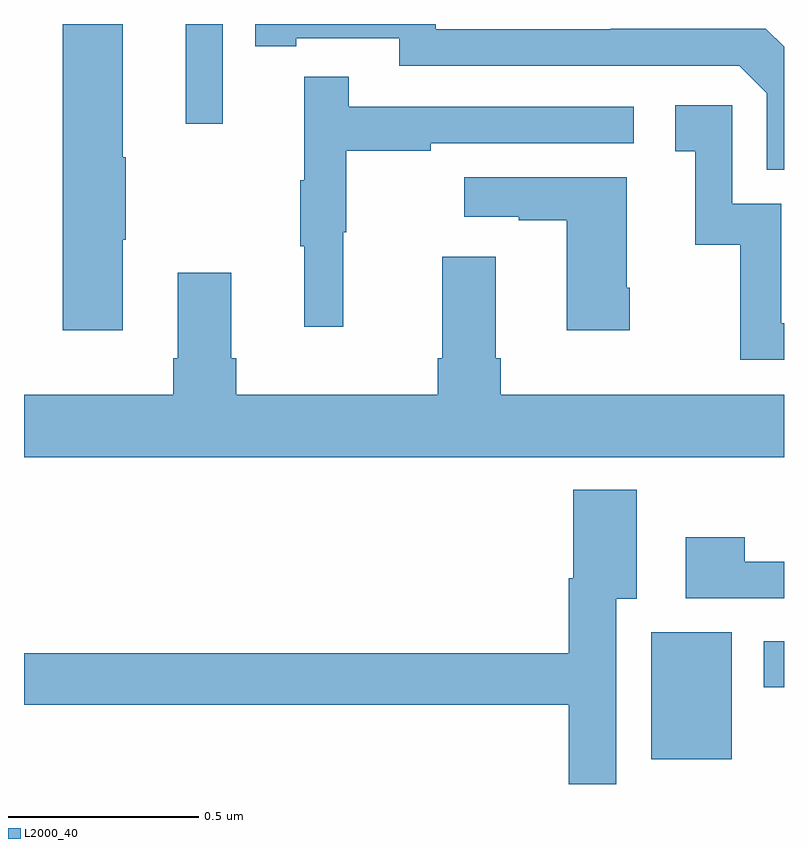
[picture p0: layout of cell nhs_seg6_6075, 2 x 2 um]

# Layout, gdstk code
import gdstk
lib = gdstk.Library(unit=1e-6, precision=1e-09)
def R(c, l, rs):  # rectangles x0, y0, x1, y1
    for r in rs: c.add(gdstk.rectangle(r[:2], r[2:], *l))
def P(c, l, *ps):  # polygons
    for p in ps: c.add(gdstk.Polygon(p, *l))
L2000_40 = (2000, 40)

nhs_seg6_6075 = lib.new_cell('nhs_seg6_6075')
R(nhs_seg6_6075, L2000_40, [(192.65,922.565,192.862,922.9), (192.947,922.754,193,922.876), (191.426,924.237,191.523,924.5)])
P(nhs_seg6_6075, L2000_40, [(193,924.44),(192.952,924.488),(192.544,924.488),(192.544,924.486),(192.084,924.486),(192.084,924.5),(191.608,924.5),(191.608,924.442),(191.716,924.442),(191.716,924.462),(191.988,924.462),(191.988,924.39),(192.882,924.39),(192.954,924.318),(192.954,924.117),(193,924.117)],
  [(191.26,923.932),(191.268,923.932),(191.268,924.149),(191.26,924.149),(191.26,924.5),(191.102,924.5),(191.102,923.694),(191.26,923.694)],
  [(191.84,923.952),(191.848,923.952),(191.848,924.166),(192.071,924.166),(192.071,924.186),(192.604,924.186),(192.604,924.282),(191.855,924.282),(191.855,924.361),(191.738,924.361),(191.738,924.089),(191.727,924.089),(191.727,923.915),(191.738,923.915),(191.738,923.703),(191.84,923.703)],
  [(193,923.712),(192.993,923.712),(192.993,924.027),(192.864,924.027),(192.864,924.286),(192.714,924.286),(192.714,924.165),(192.767,924.165),(192.767,923.919),(192.885,923.919),(192.885,923.616),(193,923.616)],
  [(192.594,923.806),(192.586,923.806),(192.586,924.097),(192.159,924.097),(192.159,923.993),(192.302,923.993),(192.302,923.983),(192.428,923.983),(192.428,923.694),(192.594,923.694)],
  [(192.241,923.62),(192.241,923.887),(192.101,923.887),(192.101,923.62),(192.089,923.62),(192.089,923.524),(191.558,923.524),(191.558,923.62),(191.545,923.62),(191.545,923.845),(191.405,923.845),(191.405,923.62),(191.393,923.62),(191.393,923.524),(191,923.524),(191,923.36),(193,923.36),(193,923.524),(192.254,923.524),(192.254,923.62)],
  [(192.559,922.988),(192.613,922.988),(192.613,923.275),(192.446,923.275),(192.446,923.042),(192.434,923.042),(192.434,922.844),(191,922.844),(191,922.708),(192.434,922.708),(192.434,922.5),(192.559,922.5)],
  [(193,923.085),(192.897,923.085),(192.897,923.149),(192.741,923.149),(192.741,922.989),(193,922.989)])

lib.write_gds('nhs_seg6_6075.gds')
